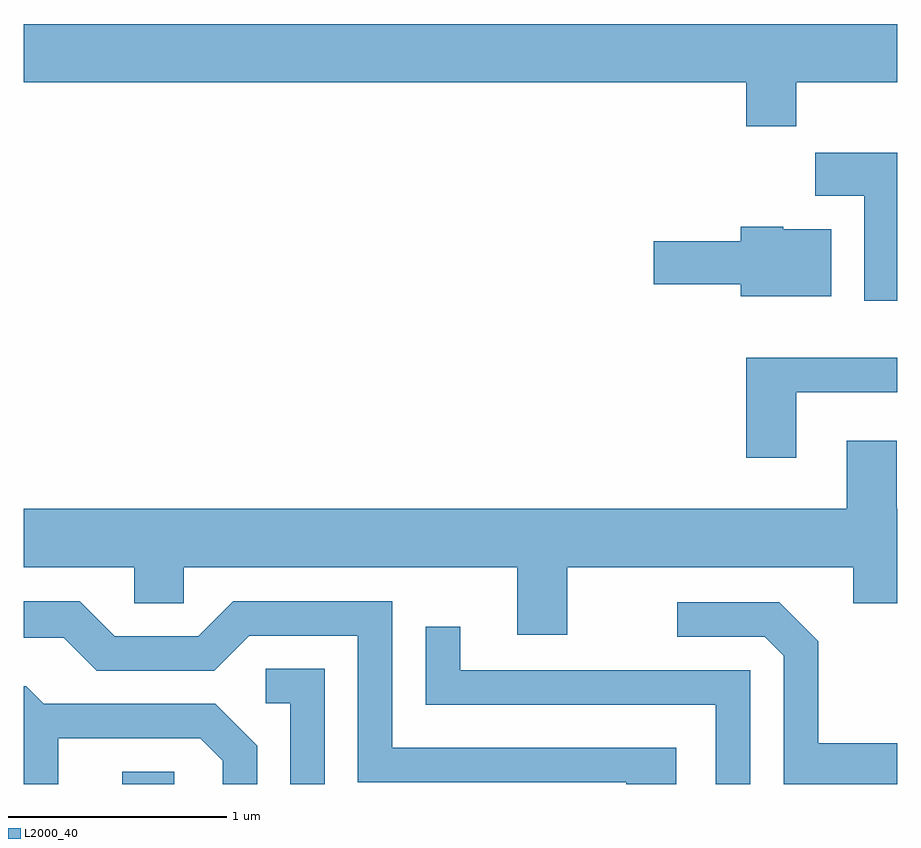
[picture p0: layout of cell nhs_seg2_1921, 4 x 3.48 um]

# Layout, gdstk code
import gdstk
lib = gdstk.Library(unit=1e-6, precision=1e-09)
def R(c, l, rs):  # rectangles x0, y0, x1, y1
    for r in rs: c.add(gdstk.rectangle(r[:2], r[2:], *l))
def P(c, l, *ps):  # polygons
    for p in ps: c.add(gdstk.Polygon(p, *l))
L2000_40 = (2000, 40)

nhs_seg2_1921 = lib.new_cell('nhs_seg2_1921')
R(nhs_seg2_1921, L2000_40, [(242.061,1011.802,242.299,1011.859)])
P(nhs_seg2_1921, L2000_40, [(245.149,1015.016),(245.611,1015.016),(245.611,1015.284),(241.611,1015.284),(241.611,1015.016),(244.921,1015.016),(244.921,1014.816),(245.149,1014.816)],
  [(245.611,1014.694),(245.236,1014.694),(245.236,1014.496),(245.461,1014.496),(245.461,1014.016),(245.611,1014.016)],
  [(245.309,1014.344),(245.09,1014.344),(245.09,1014.354),(244.896,1014.354),(244.896,1014.289),(244.496,1014.289),(244.496,1014.091),(244.896,1014.091),(244.896,1014.036),(245.309,1014.036)],
  [(245.149,1013.596),(245.611,1013.596),(245.611,1013.754),(244.921,1013.754),(244.921,1013.296),(245.149,1013.296)],
  [(245.381,1013.374),(245.381,1013.064),(241.611,1013.064),(241.611,1012.796),(242.116,1012.796),(242.116,1012.631),(242.344,1012.631),(242.344,1012.796),(243.871,1012.796),(243.871,1012.486),(244.099,1012.486),(244.099,1012.796),(245.411,1012.796),(245.411,1012.631),(245.611,1012.631),(245.611,1013.064),(245.609,1013.064),(245.609,1013.374)],
  [(244.599,1011.969),(243.299,1011.969),(243.299,1012.639),(242.569,1012.639),(242.409,1012.479),(242.027,1012.479),(241.867,1012.639),(241.611,1012.639),(241.611,1012.471),(241.794,1012.471),(241.944,1012.321),(242.482,1012.321),(242.642,1012.481),(243.141,1012.481),(243.141,1011.811),(244.371,1011.811),(244.371,1011.802),(244.599,1011.802)],
  [(245.611,1011.989),(245.249,1011.989),(245.249,1012.457),(245.072,1012.634),(244.603,1012.634),(244.603,1012.476),(245.004,1012.476),(245.091,1012.389),(245.091,1011.802),(245.611,1011.802)],
  [(244.939,1012.324),(243.609,1012.324),(243.609,1012.523),(243.451,1012.523),(243.451,1012.166),(244.781,1012.166),(244.781,1011.802),(244.939,1011.802)],
  [(242.989,1012.329),(242.718,1012.329),(242.718,1012.171),(242.831,1012.171),(242.831,1011.802),(242.989,1011.802)],
  [(241.769,1012.011),(242.419,1012.011),(242.521,1011.909),(242.521,1011.802),(242.679,1011.802),(242.679,1011.977),(242.487,1012.169),(241.702,1012.169),(241.622,1012.249),(241.611,1012.249),(241.611,1011.802),(241.769,1011.802)])

lib.write_gds('nhs_seg2_1921.gds')
